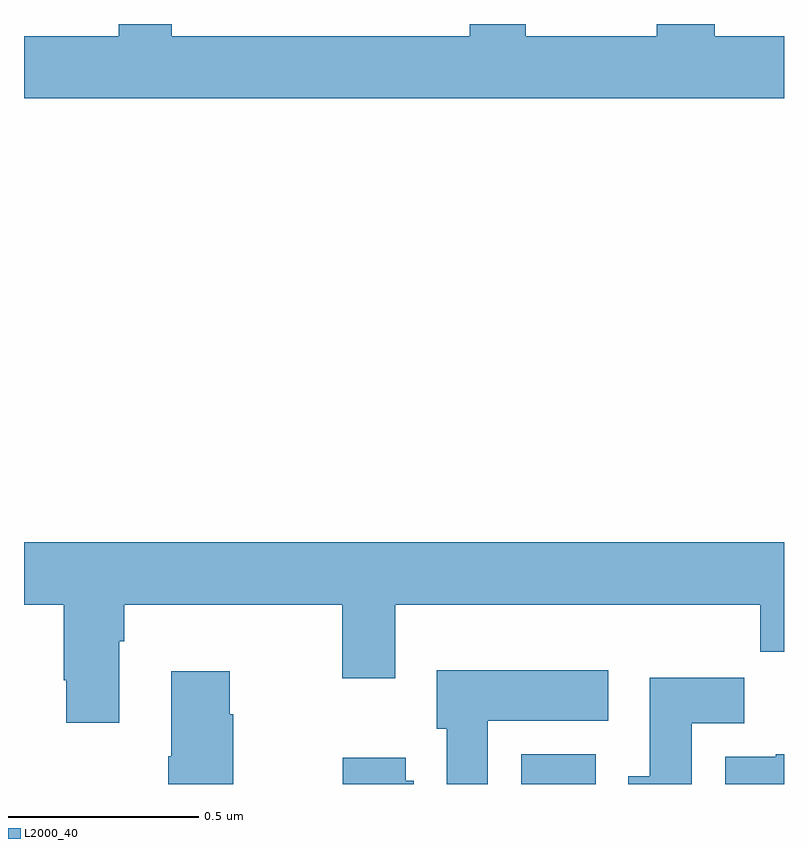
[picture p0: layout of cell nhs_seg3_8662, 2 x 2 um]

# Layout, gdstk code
import gdstk
lib = gdstk.Library(unit=1e-6, precision=1e-09)
def R(c, l, rs):  # rectangles x0, y0, x1, y1
    for r in rs: c.add(gdstk.rectangle(r[:2], r[2:], *l))
def P(c, l, *ps):  # polygons
    for p in ps: c.add(gdstk.Polygon(p, *l))
L2000_40 = (2000, 40)

nhs_seg3_8662 = lib.new_cell('nhs_seg3_8662')
R(nhs_seg3_8662, L2000_40, [(219.308,744.4,219.505,744.478)])
P(nhs_seg3_8662, L2000_40, [(220,746.368),(219.818,746.368),(219.818,746.4),(219.665,746.4),(219.665,746.368),(219.321,746.368),(219.321,746.4),(219.173,746.4),(219.173,746.368),(218.389,746.368),(218.389,746.4),(218.249,746.4),(218.249,746.368),(218,746.368),(218,746.204),(220,746.204)],
  [(218.251,744.776),(218.264,744.776),(218.264,744.872),(218.837,744.872),(218.837,744.678),(218.977,744.678),(218.977,744.872),(219.937,744.872),(219.937,744.748),(220,744.748),(220,745.036),(218,745.036),(218,744.872),(218.104,744.872),(218.104,744.673),(218.111,744.673),(218.111,744.561),(218.251,744.561)],
  [(219.22,744.566),(219.538,744.566),(219.538,744.7),(219.086,744.7),(219.086,744.546),(219.113,744.546),(219.113,744.4),(219.22,744.4)],
  [(218.55,744.584),(218.542,744.584),(218.542,744.697),(218.387,744.697),(218.387,744.473),(218.38,744.473),(218.38,744.4),(218.55,744.4)],
  [(219.757,744.56),(219.896,744.56),(219.896,744.679),(219.647,744.679),(219.647,744.42),(219.59,744.42),(219.59,744.4),(219.757,744.4)],
  [(220,744.478),(219.978,744.478),(219.978,744.472),(219.845,744.472),(219.845,744.4),(220,744.4)],
  [(219.025,744.408),(219.004,744.408),(219.004,744.469),(218.839,744.469),(218.839,744.4),(219.025,744.4)])

lib.write_gds('nhs_seg3_8662.gds')
